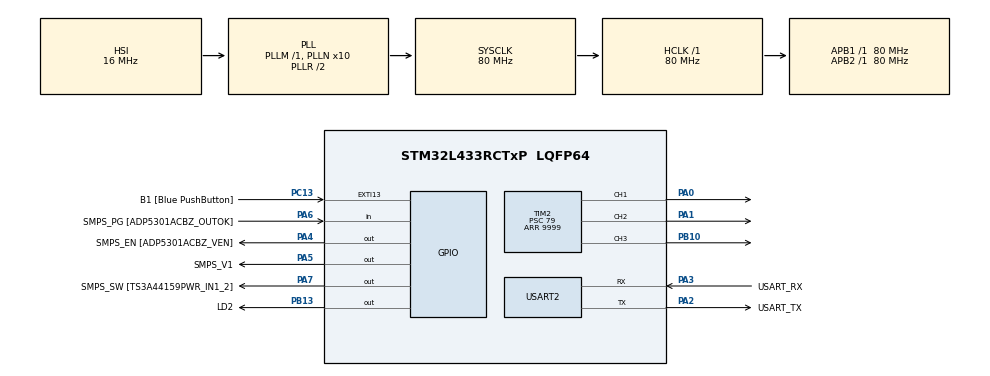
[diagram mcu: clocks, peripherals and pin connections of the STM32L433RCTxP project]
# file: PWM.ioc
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Mcu.Family=STM32L4
Mcu.Name=STM32L433RCTxP
Mcu.Package=LQFP64
NVIC.PriorityGroup=NVIC_PRIORITYGROUP_4
NVIC.TIM2_IRQn=true\:10\:0\:true\:false\:true\:true\:true\:true
PA0.Signal=S_TIM2_CH1
PA1.Signal=S_TIM2_CH2
PA13\ (JTMS-SWDIO).GPIO_Label=TMS
PA13\ (JTMS-SWDIO).Mode=Serial_Wire
PA13\ (JTMS-SWDIO).Signal=SYS_JTMS-SWDIO
PA14\ (JTCK-SWCLK).GPIO_Label=TCK
PA14\ (JTCK-SWCLK).Mode=Serial_Wire
PA14\ (JTCK-SWCLK).Signal=SYS_JTCK-SWCLK
PA2.GPIO_Label=USART_TX
PA2.GPIO_Mode=GPIO_MODE_AF_PP
PA2.GPIO_PuPd=GPIO_NOPULL
PA2.GPIO_Speed=GPIO_SPEED_FREQ_VERY_HIGH
PA2.Mode=Asynchronous
PA2.Signal=USART2_TX
PA3.GPIO_Label=USART_RX
PA3.GPIO_Mode=GPIO_MODE_AF_PP
PA3.GPIO_PuPd=GPIO_NOPULL
PA3.GPIO_Speed=GPIO_SPEED_FREQ_VERY_HIGH
PA3.Mode=Asynchronous
PA3.Signal=USART2_RX
PA4.GPIO_Label=SMPS_EN [ADP5301ACBZ_VEN]
PA4.Signal=GPIO_Output
PA5.GPIO_Label=SMPS_V1
PA5.GPIO_ModeDefaultOutputPP=GPIO_MODE_OUTPUT_PP
PA5.GPIO_PuPd=GPIO_NOPULL
PA5.GPIO_Speed=GPIO_SPEED_FREQ_LOW
PA5.Signal=GPIO_Output
PA6.GPIO_Label=SMPS_PG [ADP5301ACBZ_OUTOK]
PA6.GPIO_PuPd=GPIO_PULLUP
PA6.Signal=GPIO_Input
PA7.GPIO_Label=SMPS_SW [TS3A44159PWR_IN1_2]
PA7.Signal=GPIO_Output
PB10.Signal=S_TIM2_CH3
PB13.GPIO_Label=LD2
PB13.Signal=GPIO_Output
PB3\ (JTDO-TRACESWO).GPIO_Label=SWO
PB3\ (JTDO-TRACESWO).Signal=SYS_JTDO-SWO
PC13.GPIO_Label=B1 [Blue PushButton]
PC13.GPIO_ModeDefaultEXTI=GPIO_MODE_IT_FALLING
PC13.GPIO_PuPd=GPIO_NOPULL
PC13.Signal=GPXTI13
PC14-OSC32_IN\ (PC14).Mode=LSE-External-Oscillator
PC14-OSC32_IN\ (PC14).Signal=RCC_OSC32_IN
PC15-OSC32_OUT\ (PC15).Mode=LSE-External-Oscillator
PC15-OSC32_OUT\ (PC15).Signal=RCC_OSC32_OUT
PH0-OSC_IN\ (PH0).GPIO_Label=MCO
PH0-OSC_IN\ (PH0).Mode=HSE-External-Clock-Source
PH0-OSC_IN\ (PH0).Signal=RCC_OSC_IN
PH1-OSC_OUT\ (PH1).Signal=RCC_OSC_OUT
ProjectManager.HeapSize=0x200
ProjectManager.StackSize=0x400
ProjectManager.TargetToolchain=STM32CubeIDE
RCC.ADCFreq_Value=64000000
RCC.AHBFreq_Value=80000000
RCC.APB1Freq_Value=80000000
RCC.APB1TimFreq_Value=80000000
RCC.APB2Freq_Value=80000000
RCC.APB2TimFreq_Value=80000000
RCC.CortexFreq_Value=80000000
RCC.HCLKFreq_Value=80000000
RCC.HSE_VALUE=8000000
RCC.HSI48_VALUE=48000000
RCC.HSI_VALUE=16000000
RCC.MSI_VALUE=4000000
RCC.PLLN=10
RCC.PLLSourceVirtual=RCC_PLLSOURCE_HSI
RCC.PREFETCH_ENABLE=1
RCC.SYSCLKFreq_VALUE=80000000
RCC.SYSCLKSource=RCC_SYSCLKSOURCE_PLLCLK
RCC.USBFreq_Value=64000000
RCC.VCOOutputFreq_Value=160000000
SH.S_TIM2_CH1.0=TIM2_CH1,PWM Generation1 CH1
SH.S_TIM2_CH2.0=TIM2_CH2,PWM Generation2 CH2
SH.S_TIM2_CH3.0=TIM2_CH3,PWM Generation3 CH3
TIM2.Channel-PWM\ Generation1\ CH1=TIM_CHANNEL_1
TIM2.Channel-PWM\ Generation2\ CH2=TIM_CHANNEL_2
TIM2.Channel-PWM\ Generation3\ CH3=TIM_CHANNEL_3
TIM2.OCPolarity_1=TIM_OCPOLARITY_LOW
TIM2.OCPolarity_2=TIM_OCPOLARITY_LOW
TIM2.OCPolarity_3=TIM_OCPOLARITY_LOW
TIM2.Period=9999
TIM2.Prescaler=79
TIM2.Pulse-PWM\ Generation1\ CH1=100
TIM2.Pulse-PWM\ Generation2\ CH2=300
TIM2.Pulse-PWM\ Generation3\ CH3=5000
USART2.VirtualMode-Asynchronous=VM_ASYNC
VP_TIM2_VS_ClockSourceINT.Mode=Internal
board=NUCLEO-L433RC-P

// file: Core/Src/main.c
/* USER CODE BEGIN Header */
/**
  ******************************************************************************
  * @file           : main.c
  * @brief          : Main program body
  ******************************************************************************
  * @attention
  *
  * Copyright (c) 2023 STMicroelectronics.
  * All rights reserved.
  *
  * This software is licensed under terms that can be found in the LICENSE file
  * in the root directory of this software component.
  * If no LICENSE file comes with this software, it is provided AS-IS.
  *
  ******************************************************************************
  */
/* USER CODE END Header */
#include "main.h"

/* USER CODE BEGIN Includes */
#include "math.h"

/* USER CODE END Includes */

TIM_HandleTypeDef htim2;

UART_HandleTypeDef huart2;

void SystemClock_Config(void);
static void MX_GPIO_Init(void);
static void MX_USART2_UART_Init(void);
static void MX_TIM2_Init(void);

/* USER CODE BEGIN 0 */
void HAL_TIM_PeriodElapsedCallback(TIM_HandleTypeDef *htim)
{
  if (htim == &htim2) {
    HAL_GPIO_TogglePin(LD2_GPIO_Port, LD2_Pin);
  }
}
float calc_pwm(float val)
{
    const float k = 0.13f;
    const float x0 = 70.0f;
    return 10000.0f / (1.0f + exp(-k * (val - x0)));
}
/* USER CODE END 0 */

int main(void)
{

  /* MCU Configuration--------------------------------------------------------*/

  /* Reset of all peripherals, Initializes the Flash interface and the Systick. */
  HAL_Init();

  /* Configure the system clock */
  SystemClock_Config();

  /* Initialize all configured peripherals */
  MX_GPIO_Init();
  MX_USART2_UART_Init();
  MX_TIM2_Init();
  /* USER CODE BEGIN 2 */

  HAL_TIM_Base_Start_IT(&htim2);
  HAL_TIM_PWM_Start(&htim2, TIM_CHANNEL_1);
  HAL_TIM_PWM_Start(&htim2, TIM_CHANNEL_2);
  HAL_TIM_PWM_Start(&htim2, TIM_CHANNEL_3);
  /* USER CODE END 2 */

  /* Infinite loop */
  /* USER CODE BEGIN WHILE */
  int counter;
  while (1)
  {
	  float r = 50 * (1.0f + sin(counter / 100.0f));
  float g = 50 * (1.0f + sin(1.5f * counter / 100.0f));
  float b = 50 * (1.0f + sin(2.0f * counter / 100.0f));
  __HAL_TIM_SET_COMPARE(&htim2, TIM_CHANNEL_1, calc_pwm(b));
  __HAL_TIM_SET_COMPARE(&htim2, TIM_CHANNEL_2, calc_pwm(g));
  __HAL_TIM_SET_COMPARE(&htim2, TIM_CHANNEL_3, calc_pwm(r));

  HAL_Delay(10);
  counter++;
    /* USER CODE END WHILE */

  }
}

void SystemClock_Config(void)
{
  RCC_OscInitTypeDef RCC_OscInitStruct = {0};
  RCC_ClkInitTypeDef RCC_ClkInitStruct = {0};

  /** Configure the main internal regulator output voltage
  */
  if (HAL_PWREx_ControlVoltageScaling(PWR_REGULATOR_VOLTAGE_SCALE1) != HAL_OK)
  {
    Error_Handler();
  }

  /** Initializes the RCC Oscillators according to the specified parameters
  * in the RCC_OscInitTypeDef structure.
  */
  RCC_OscInitStruct.OscillatorType = RCC_OSCILLATORTYPE_HSI;
  RCC_OscInitStruct.HSIState = RCC_HSI_ON;
  RCC_OscInitStruct.HSICalibrationValue = RCC_HSICALIBRATION_DEFAULT;
  RCC_OscInitStruct.PLL.PLLState = RCC_PLL_ON;
  RCC_OscInitStruct.PLL.PLLSource = RCC_PLLSOURCE_HSI;
  RCC_OscInitStruct.PLL.PLLM = 1;
  RCC_OscInitStruct.PLL.PLLN = 10;
  RCC_OscInitStruct.PLL.PLLP = RCC_PLLP_DIV7;
  RCC_OscInitStruct.PLL.PLLQ = RCC_PLLQ_DIV2;
  RCC_OscInitStruct.PLL.PLLR = RCC_PLLR_DIV2;
  if (HAL_RCC_OscConfig(&RCC_OscInitStruct) != HAL_OK)
  {
    Error_Handler();
  }

  /** Initializes the CPU, AHB and APB buses clocks
  */
  RCC_ClkInitStruct.ClockType = RCC_CLOCKTYPE_HCLK|RCC_CLOCKTYPE_SYSCLK
                              |RCC_CLOCKTYPE_PCLK1|RCC_CLOCKTYPE_PCLK2;
  RCC_ClkInitStruct.SYSCLKSource = RCC_SYSCLKSOURCE_PLLCLK;
  RCC_ClkInitStruct.AHBCLKDivider = RCC_SYSCLK_DIV1;
  RCC_ClkInitStruct.APB1CLKDivider = RCC_HCLK_DIV1;
  RCC_ClkInitStruct.APB2CLKDivider = RCC_HCLK_DIV1;

  if (HAL_RCC_ClockConfig(&RCC_ClkInitStruct, FLASH_LATENCY_4) != HAL_OK)
  {
    Error_Handler();
  }
}

static void MX_TIM2_Init(void)
{

  TIM_ClockConfigTypeDef sClockSourceConfig = {0};
  TIM_MasterConfigTypeDef sMasterConfig = {0};
  TIM_OC_InitTypeDef sConfigOC = {0};

  htim2.Instance = TIM2;
  htim2.Init.Prescaler = 79;
  htim2.Init.CounterMode = TIM_COUNTERMODE_UP;
  htim2.Init.Period = 9999;
  htim2.Init.ClockDivision = TIM_CLOCKDIVISION_DIV1;
  htim2.Init.AutoReloadPreload = TIM_AUTORELOAD_PRELOAD_DISABLE;
  if (HAL_TIM_Base_Init(&htim2) != HAL_OK)
  {
    Error_Handler();
  }
  sClockSourceConfig.ClockSource = TIM_CLOCKSOURCE_INTERNAL;
  if (HAL_TIM_ConfigClockSource(&htim2, &sClockSourceConfig) != HAL_OK)
  {
    Error_Handler();
  }
  if (HAL_TIM_PWM_Init(&htim2) != HAL_OK)
  {
    Error_Handler();
  }
  sMasterConfig.MasterOutputTrigger = TIM_TRGO_RESET;
  sMasterConfig.MasterSlaveMode = TIM_MASTERSLAVEMODE_DISABLE;
  if (HAL_TIMEx_MasterConfigSynchronization(&htim2, &sMasterConfig) != HAL_OK)
  {
    Error_Handler();
  }
  sConfigOC.OCMode = TIM_OCMODE_PWM1;
  sConfigOC.Pulse = 100;
  sConfigOC.OCPolarity = TIM_OCPOLARITY_LOW;
  sConfigOC.OCFastMode = TIM_OCFAST_DISABLE;
  if (HAL_TIM_PWM_ConfigChannel(&htim2, &sConfigOC, TIM_CHANNEL_1) != HAL_OK)
  {
    Error_Handler();
  }
  sConfigOC.Pulse = 300;
  if (HAL_TIM_PWM_ConfigChannel(&htim2, &sConfigOC, TIM_CHANNEL_2) != HAL_OK)
  {
    Error_Handler();
  }
  sConfigOC.Pulse = 5000;
  if (HAL_TIM_PWM_ConfigChannel(&htim2, &sConfigOC, TIM_CHANNEL_3) != HAL_OK)
  {
    Error_Handler();
  }
  HAL_TIM_MspPostInit(&htim2);

}

static void MX_USART2_UART_Init(void)
{

  huart2.Instance = USART2;
  huart2.Init.BaudRate = 115200;
  huart2.Init.WordLength = UART_WORDLENGTH_8B;
  huart2.Init.StopBits = UART_STOPBITS_1;
  huart2.Init.Parity = UART_PARITY_NONE;
  huart2.Init.Mode = UART_MODE_TX_RX;
  huart2.Init.HwFlowCtl = UART_HWCONTROL_NONE;
  huart2.Init.OverSampling = UART_OVERSAMPLING_16;
  huart2.Init.OneBitSampling = UART_ONE_BIT_SAMPLE_DISABLE;
  huart2.AdvancedInit.AdvFeatureInit = UART_ADVFEATURE_NO_INIT;
  if (HAL_UART_Init(&huart2) != HAL_OK)
  {
    Error_Handler();
  }

}

static void MX_GPIO_Init(void)
{
  GPIO_InitTypeDef GPIO_InitStruct = {0};

  /* GPIO Ports Clock Enable */
  __HAL_RCC_GPIOC_CLK_ENABLE();
  __HAL_RCC_GPIOH_CLK_ENABLE();
  __HAL_RCC_GPIOA_CLK_ENABLE();
  __HAL_RCC_GPIOB_CLK_ENABLE();

  /*Configure GPIO pin Output Level */
  HAL_GPIO_WritePin(GPIOA, SMPS_EN_Pin|SMPS_V1_Pin|SMPS_SW_Pin, GPIO_PIN_RESET);

  /*Configure GPIO pin Output Level */
  HAL_GPIO_WritePin(LD2_GPIO_Port, LD2_Pin, GPIO_PIN_RESET);

  /*Configure GPIO pin : B1_Pin */
  GPIO_InitStruct.Pin = B1_Pin;
  GPIO_InitStruct.Mode = GPIO_MODE_IT_FALLING;
  GPIO_InitStruct.Pull = GPIO_NOPULL;
  HAL_GPIO_Init(B1_GPIO_Port, &GPIO_InitStruct);

  /*Configure GPIO pins : SMPS_EN_Pin SMPS_V1_Pin SMPS_SW_Pin */
  GPIO_InitStruct.Pin = SMPS_EN_Pin|SMPS_V1_Pin|SMPS_SW_Pin;
  GPIO_InitStruct.Mode = GPIO_MODE_OUTPUT_PP;
  GPIO_InitStruct.Pull = GPIO_NOPULL;
  GPIO_InitStruct.Speed = GPIO_SPEED_FREQ_LOW;
  HAL_GPIO_Init(GPIOA, &GPIO_InitStruct);

  /*Configure GPIO pin : SMPS_PG_Pin */
  GPIO_InitStruct.Pin = SMPS_PG_Pin;
  GPIO_InitStruct.Mode = GPIO_MODE_INPUT;
  GPIO_InitStruct.Pull = GPIO_PULLUP;
  HAL_GPIO_Init(SMPS_PG_GPIO_Port, &GPIO_InitStruct);

  /*Configure GPIO pin : LD2_Pin */
  GPIO_InitStruct.Pin = LD2_Pin;
  GPIO_InitStruct.Mode = GPIO_MODE_OUTPUT_PP;
  GPIO_InitStruct.Pull = GPIO_NOPULL;
  GPIO_InitStruct.Speed = GPIO_SPEED_FREQ_LOW;
  HAL_GPIO_Init(LD2_GPIO_Port, &GPIO_InitStruct);

}

void Error_Handler(void)
{
  __disable_irq();
  while (1)
  {
  }
}
